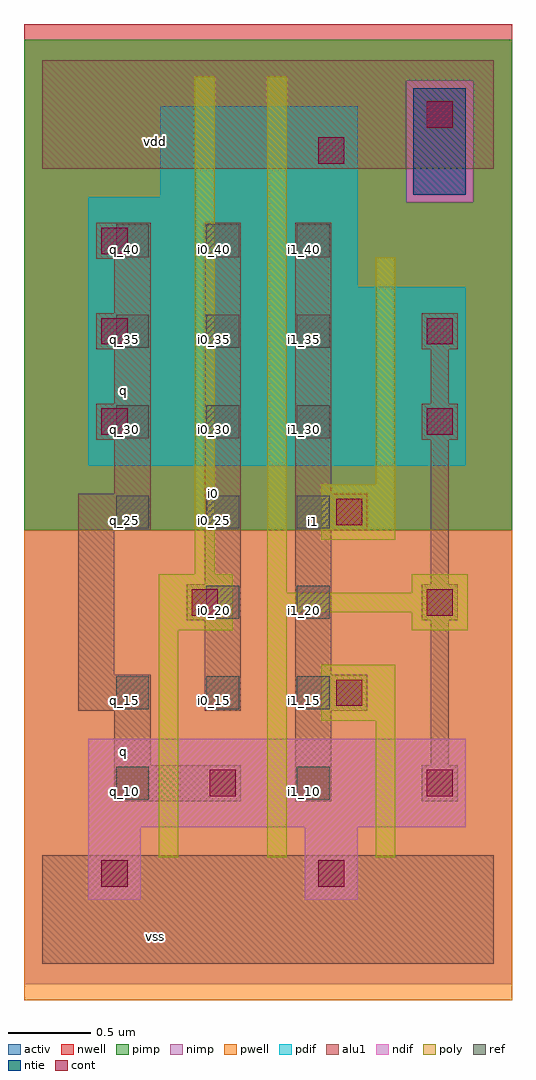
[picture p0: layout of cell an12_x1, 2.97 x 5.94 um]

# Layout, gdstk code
import gdstk
lib = gdstk.Library(unit=1e-6, precision=2.5e-09)
def R(c, l, rs):  # rectangles x0, y0, x1, y1
    for r in rs: c.add(gdstk.rectangle(r[:2], r[2:], *l))
def A(c, l, x, y, w, h, nx, ny, dx, dy):  # array of equal rectangles
    R(c, l, [(x+i*dx, y+j*dy, x+i*dx+w, y+j*dy+h) for i in range(nx) for j in range(ny)])
ndif = (3, 0)
pdif = (4, 0)
ntie = (5, 0)
ref = (24, 0)
cont = (25, 0)
pwell = (41, 0)
nwell = (42, 0)
activ = (43, 0)
pimp = (44, 0)
nimp = (45, 0)
poly = (46, 0)
alu1 = (49, 0)

an12_x1 = lib.new_cell('an12_x1')
R(an12_x1, ndif, [(0.28,0.39,0.6,0.83), (0.28,0.39,0.6,0.83), (1.6,0.39,1.92,0.83), (1.6,0.39,1.92,0.83), (0.28,0.83,2.58,1.37), (0.28,0.83,2.58,1.37)])
R(an12_x1, pdif, [(0.28,3.03,2.58,4.12), (0.28,3.03,2.58,4.12), (0.28,4.12,1.92,4.67), (0.28,4.12,1.92,4.67), (0.72,4.67,1.92,5.22), (0.72,4.67,1.92,5.22)])
R(an12_x1, ntie, [(2.26,4.68,2.58,5.33), (2.26,4.68,2.58,5.33)])
A(an12_x1, ref, 0.45, 1.55, 0.2, 0.2, 3, 2, 0.55, 1.1)
A(an12_x1, ref, 0.45, 3.2, 0.2, 0.2, 3, 3, 0.55, 0.55)
R(an12_x1, ref, [(0.45,1,0.65,1.2), (1.55,1,1.75,1.2), (1,2.1,1.2,2.3), (1.55,2.1,1.75,2.3)])
A(an12_x1, cont, 2.34, 1.02, 0.16, 0.16, 1, 3, 0, 1.1)
A(an12_x1, cont, 0.36, 3.22, 0.16, 0.16, 1, 3, 0, 0.55)
R(an12_x1, cont, [(0.36,0.47,0.52,0.63), (1.68,0.47,1.84,0.63), (1.02,1.02,1.18,1.18), (1.79,1.57,1.95,1.73), (0.91,2.12,1.07,2.28), (1.79,2.67,1.95,2.83), (2.34,3.77,2.5,3.93), (1.68,4.87,1.84,5.03), (2.34,5.09,2.5,5.25)])
R(an12_x1, pwell, [(-0.11,-0.22,2.86,2.64)])
R(an12_x1, nwell, [(-0.11,2.64,2.86,5.72)])
R(an12_x1, activ, [(0.28,0.39,0.6,0.83), (0.28,0.39,0.6,0.83), (1.6,0.39,1.92,0.83), (1.6,0.39,1.92,0.83), (0.28,0.83,2.58,1.37), (0.28,0.83,2.58,1.37), (0.28,3.03,2.58,4.12), (0.28,3.03,2.58,4.12), (0.28,4.12,1.92,4.67), (0.28,4.12,1.92,4.67), (0.72,4.67,1.92,5.22), (0.72,4.67,1.92,5.22), (2.26,4.68,2.58,5.33), (2.26,4.68,2.58,5.33)])
R(an12_x1, pimp, [(-0.11,2.64,2.86,4.635), (-0.11,4.635,2.215,5.375), (2.625,4.635,2.86,5.375), (-0.11,5.375,2.86,5.625)])
R(an12_x1, nimp, [(-0.11,-0.125,2.86,2.64), (2.215,4.635,2.625,5.375)])
R(an12_x1, poly, [(0.71,0.65,0.83,2.03), (1.37,0.65,1.49,2.14), (2.03,0.65,2.15,1.48), (1.7,1.48,2.15,1.82), (0.71,2.03,1.16,2.37), (2.25,2.03,2.59,2.14), (1.37,2.14,2.59,2.26), (1.37,2.26,1.49,5.4), (2.25,2.26,2.59,2.37), (0.93,2.37,1.05,5.4), (1.7,2.58,2.15,2.92), (2.03,2.92,2.15,4.3)])
A(an12_x1, alu1, 2.31, 0.99, 0.22, 0.22, 1, 3, 0, 1.1)
A(an12_x1, alu1, 0.44, 2.86, 0.22, 0.33, 1, 3, 0, 0.55)
A(an12_x1, alu1, 0.33, 3.19, 0.33, 0.22, 1, 3, 0, 0.55)
R(an12_x1, alu1, [(0,0,2.75,0.66), (0.44,0.99,1.21,1.21), (1.54,0.99,1.76,1.54), (0.44,1.21,0.66,1.54), (2.365,1.21,2.475,2.09), (0.22,1.54,0.66,1.76), (0.99,1.54,1.21,2.09), (1.54,1.54,1.98,1.76), (0.22,1.76,0.44,2.64), (1.54,1.76,1.76,2.64), (0.88,2.09,1.21,2.31), (0.99,2.31,1.21,4.51), (2.365,2.31,2.475,3.19), (0.22,2.64,0.66,2.86), (1.54,2.64,1.98,2.86), (1.54,2.86,1.76,4.51), (2.365,3.41,2.475,3.74), (2.31,3.74,2.53,3.96), (0,4.84,2.75,5.5)])
an12_x1.add(gdstk.Label('vss', (0.6875,0.165), layer=49, texttype=0))
an12_x1.add(gdstk.Label('q', (0.495,1.2925), layer=49, texttype=0))
an12_x1.add(gdstk.Label('i1', (1.65,2.695), layer=49, texttype=0))
an12_x1.add(gdstk.Label('i0', (1.045,2.86), layer=49, texttype=0))
an12_x1.add(gdstk.Label('q', (0.495,3.4925), layer=49, texttype=0))
an12_x1.add(gdstk.Label('vdd', (0.6875,5.005), layer=49, texttype=0))
an12_x1.add(gdstk.Label('i1_10', (1.6,1.05), layer=24, texttype=0))
an12_x1.add(gdstk.Label('q_10', (0.5,1.05), layer=24, texttype=0))
an12_x1.add(gdstk.Label('i0_40', (1.05,4.35), layer=24, texttype=0))
an12_x1.add(gdstk.Label('i0_35', (1.05,3.8), layer=24, texttype=0))
an12_x1.add(gdstk.Label('i0_30', (1.05,3.25), layer=24, texttype=0))
an12_x1.add(gdstk.Label('i0_25', (1.05,2.7), layer=24, texttype=0))
an12_x1.add(gdstk.Label('q_40', (0.5,4.35), layer=24, texttype=0))
an12_x1.add(gdstk.Label('q_35', (0.5,3.8), layer=24, texttype=0))
an12_x1.add(gdstk.Label('i1_25', (1.6,2.7), layer=24, texttype=0))
an12_x1.add(gdstk.Label('i1_30', (1.6,3.25), layer=24, texttype=0))
an12_x1.add(gdstk.Label('i1_35', (1.6,3.8), layer=24, texttype=0))
an12_x1.add(gdstk.Label('i1_40', (1.6,4.35), layer=24, texttype=0))
an12_x1.add(gdstk.Label('q_30', (0.5,3.25), layer=24, texttype=0))
an12_x1.add(gdstk.Label('q_25', (0.5,2.7), layer=24, texttype=0))
an12_x1.add(gdstk.Label('q_15', (0.5,1.6), layer=24, texttype=0))
an12_x1.add(gdstk.Label('i0_20', (1.05,2.15), layer=24, texttype=0))
an12_x1.add(gdstk.Label('i0_15', (1.05,1.6), layer=24, texttype=0))
an12_x1.add(gdstk.Label('i1_15', (1.6,1.6), layer=24, texttype=0))
an12_x1.add(gdstk.Label('i1_20', (1.6,2.15), layer=24, texttype=0))

lib.write_gds('an12_x1.gds')
